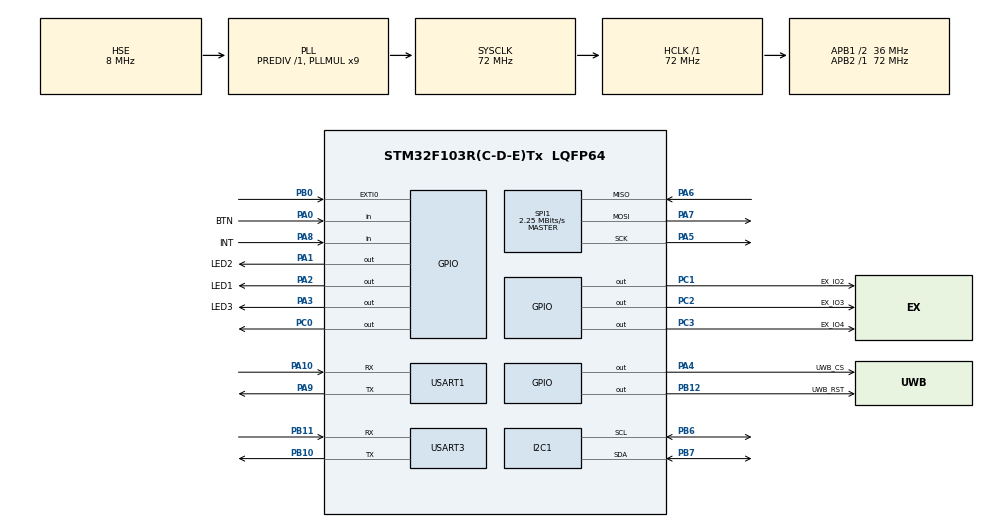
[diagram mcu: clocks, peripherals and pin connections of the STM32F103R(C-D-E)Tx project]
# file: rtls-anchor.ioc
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I2C1.I2C_Mode=I2C_Fast
Mcu.Family=STM32F1
Mcu.Name=STM32F103R(C-D-E)Tx
Mcu.Package=LQFP64
NVIC.EXTI0_IRQn=true\:0\:0\:false\:false\:true\:true\:true\:true
NVIC.PriorityGroup=NVIC_PRIORITYGROUP_4
NVIC.TIM2_IRQn=true\:0\:0\:false\:false\:true\:true\:true\:true
NVIC.USART1_IRQn=true\:0\:0\:false\:false\:true\:true\:true\:true
NVIC.USART3_IRQn=true\:0\:0\:false\:false\:true\:true\:true\:true
PA0-WKUP.GPIO_Label=BTN
PA0-WKUP.Signal=GPIO_Input
PA1.GPIO_Label=LED2
PA1.GPIO_ModeDefaultOutputPP=GPIO_MODE_OUTPUT_PP
PA1.GPIO_PuPd=GPIO_NOPULL
PA1.GPIO_Speed=GPIO_SPEED_FREQ_HIGH
PA1.PinState=GPIO_PIN_RESET
PA1.Signal=GPIO_Output
PA10.Mode=Asynchronous
PA10.Signal=USART1_RX
PA13.Mode=Serial_Wire
PA13.Signal=SYS_JTMS-SWDIO
PA14.Mode=Serial_Wire
PA14.Signal=SYS_JTCK-SWCLK
PA2.GPIO_Label=LED1
PA2.GPIO_ModeDefaultOutputPP=GPIO_MODE_OUTPUT_PP
PA2.GPIO_PuPd=GPIO_NOPULL
PA2.GPIO_Speed=GPIO_SPEED_FREQ_HIGH
PA2.PinState=GPIO_PIN_RESET
PA2.Signal=GPIO_Output
PA3.GPIO_Label=LED3
PA3.GPIO_ModeDefaultOutputPP=GPIO_MODE_OUTPUT_PP
PA3.GPIO_PuPd=GPIO_NOPULL
PA3.GPIO_Speed=GPIO_SPEED_FREQ_HIGH
PA3.PinState=GPIO_PIN_RESET
PA3.Signal=GPIO_Output
PA4.GPIO_Label=UWB_CS
PA4.GPIO_Speed=GPIO_SPEED_FREQ_HIGH
PA4.PinState=GPIO_PIN_SET
PA4.Signal=GPIO_Output
PA5.Mode=Full_Duplex_Master
PA5.Signal=SPI1_SCK
PA6.Mode=Full_Duplex_Master
PA6.Signal=SPI1_MISO
PA7.Mode=Full_Duplex_Master
PA7.Signal=SPI1_MOSI
PA8.GPIO_Label=INT
PA8.Signal=GPIO_Input
PA9.Mode=Asynchronous
PA9.Signal=USART1_TX
PB0.GPIO_ModeDefaultEXTI=GPIO_MODE_IT_RISING
PB0.GPIO_PuPd=GPIO_NOPULL
PB0.Signal=GPXTI0
PB10.Mode=Asynchronous
PB10.Signal=USART3_TX
PB11.Mode=Asynchronous
PB11.Signal=USART3_RX
PB12.GPIO_Label=UWB_RST
PB12.GPIO_Speed=GPIO_SPEED_FREQ_HIGH
PB12.PinState=GPIO_PIN_SET
PB12.Signal=GPIO_Output
PB6.Mode=I2C
PB6.Signal=I2C1_SCL
PB7.Mode=I2C
PB7.Signal=I2C1_SDA
PC0.Signal=GPIO_Output
PC1.GPIO_Label=EX_IO2
PC1.GPIO_Speed=GPIO_SPEED_FREQ_HIGH
PC1.Signal=GPIO_Output
PC2.GPIO_Label=EX_IO3
PC2.GPIO_Speed=GPIO_SPEED_FREQ_HIGH
PC2.Signal=GPIO_Output
PC3.GPIO_Label=EX_IO4
PC3.GPIO_Speed=GPIO_SPEED_FREQ_HIGH
PC3.Signal=GPIO_Output
PD0-OSC_IN.Mode=HSE-External-Oscillator
PD0-OSC_IN.Signal=RCC_OSC_IN
PD1-OSC_OUT.Mode=HSE-External-Oscillator
PD1-OSC_OUT.Signal=RCC_OSC_OUT
ProjectManager.HeapSize=0x200
ProjectManager.StackSize=0x400
ProjectManager.TargetToolchain=STM32CubeIDE
RCC.ADCPresc=RCC_ADCPCLK2_DIV6
RCC.AHBFreq_Value=72000000
RCC.APB1CLKDivider=RCC_HCLK_DIV2
RCC.APB1Freq_Value=36000000
RCC.APB1TimFreq_Value=72000000
RCC.APB2Freq_Value=72000000
RCC.APB2TimFreq_Value=72000000
RCC.HCLKFreq_Value=72000000
RCC.PLLMUL=RCC_PLL_MUL9
RCC.PLLSourceVirtual=RCC_PLLSOURCE_HSE
RCC.SYSCLKFreq_VALUE=72000000
RCC.SYSCLKSource=RCC_SYSCLKSOURCE_PLLCLK
RCC.USBFreq_Value=72000000
SPI1.BaudRatePrescaler=SPI_BAUDRATEPRESCALER_32
SPI1.CalculateBaudRate=2.25 MBits/s
SPI1.Direction=SPI_DIRECTION_2LINES
SPI1.Mode=SPI_MODE_MASTER
SPI1.VirtualType=VM_MASTER
TIM1.Period=49999
TIM1.Prescaler=143
TIM2.Prescaler=143
USART1.VirtualMode=VM_ASYNC
USART3.VirtualMode=VM_ASYNC
VP_TIM1_VS_ClockSourceINT.Mode=Internal
VP_TIM2_VS_ClockSourceINT.Mode=Internal
board=custom

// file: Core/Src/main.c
/* USER CODE BEGIN Header */
/**
  ******************************************************************************
  * @file           : main.c
  * @brief          : Main program body
  ******************************************************************************
  * @attention
  *
  * Copyright (c) 2023 STMicroelectronics.
  * All rights reserved.
  *
  * This software is licensed under terms that can be found in the LICENSE file
  * in the root directory of this software component.
  * If no LICENSE file comes with this software, it is provided AS-IS.
  *
  ******************************************************************************
  */
/* USER CODE END Header */
#include "main.h"
#include "i2c.h"
#include "spi.h"
#include "tim.h"
#include "usart.h"
#include "gpio.h"

/* USER CODE BEGIN Includes */
#include <stdio.h>
#include <string.h>
#include <math.h>
#include <stdlib.h>
#include <stdbool.h>
#include <stdint.h>
#include <stddef.h>
#include "decawave/dw_api.h"
#include "log/log.h"
#include "mac/mac.h"
#include "message_types.h"
/* USER CODE END Includes */

/* USER CODE BEGIN PD */
#ifdef __GNUC__
int __io_putchar(int ch)
#else
int fputc(int ch, FILE *f)
#endif /* __GNUC__ */
{
  HAL_UART_Transmit(&huart1, (uint8_t *)&ch, 1, 1);
  return ch;
}
#define TWR_SLOT_NUM 5
#define ANTENNA_DELAY 16475
#define BCN_SLOT_NUM 0
#define OFFSET 245
#define RSP_DELAY 360
#define US_TO_DECAWAVE_TICK 63898
#define X 0.3
#define Y 0.5
uint8_t anchorBaseAddr[2] = {0x89, 0x01};
/* USER CODE END PD */

/* USER CODE BEGIN PV */
//dwDeviceTypes_t device = {
//  .extendedFrameLength = FRAME_LENGTH_NORMAL,
//  .pacSize = PAC_SIZE_8,
//  .pulseFrequency = TX_PULSE_FREQ_64MHZ,
//  .dataRate = TRX_RATE_6800KBPS,
//  .preambleLength = TX_PREAMBLE_LEN_128,
//  .preambleCode = PREAMBLE_CODE_64MHZ_9,
//  .channel = CHANNEL_5,
//  .smartPower = true,
//  .frameCheck = true,
//  .permanentReceive = false,
//  .deviceMode = IDLE_MODE,
//  .forceTxPower = false,
//};

dwDeviceTypes_t device = {
  .extendedFrameLength = FRAME_LENGTH_NORMAL,
  .pacSize = PAC_SIZE_8,
  .pulseFrequency = TX_PULSE_FREQ_64MHZ,
  .dataRate = TRX_RATE_6800KBPS,
  .preambleLength = TX_PREAMBLE_LEN_128,
  .preambleCode = PREAMBLE_CODE_64MHZ_9,
  .channel = CHANNEL_5,
  .smartPower = true,
  .frameCheck = true,
  .permanentReceive = false,
  .deviceMode = IDLE_MODE,
  .forceTxPower = false,
};

typedef struct
{
	bool anchorSync;
	uint16_t timePollStart;
	uint16_t timePollEnd;
	uint16_t timeRespStart;
	uint16_t timeRespEnd;
	uint16_t timeLocStart;
	uint16_t timeLocEnd;
} systemHandle_t;
systemHandle_t systemHandle = {0};

/* USER CODE END PV */

void SystemClock_Config(void);

/* USER CODE BEGIN 0 */
//void HAL_GPIO_EXTI_Callback(uint16_t GPIO_Pin)
//{
//
//	if (GPIO_Pin == GPIO_PIN_0)
//	{
//		systemHandle.dwIsIntr = true;
//		HAL_NVIC_ClearPendingIRQ(EXTI0_IRQn);
//	}
//}

//void HAL_TIM_PeriodElapsedCallback(TIM_HandleTypeDef *htim)
//{
//	if (htim->Instance == TIM2)
//	{
//		systemHandle.timeoutIsIntr = true;
//	}
//}

void dwInteruptHandler(void)
{
	dwReadSystemEventStatusRegister(&device);
	if (dwIsTransmitDone(&device))
	{
		dwClearTransmitStatus(&device);
	}
	if (dwIsReceiveTimestampAvailable(&device))
	{
		dwClearReceiveTimestampAvailableStatus(&device);
	}
	if (dwIsReceiveFailed(&device))
	{
		dwClearReceiveStatus(&device);
		dwRxSoftReset(&device);
	}
	if (dwIsReceiveTimeout(&device))
	{
		dwClearReceiveStatus(&device);
		dwRxSoftReset(&device);
	}
	if (dwIsReceiveDone(&device))
	{
		dwClearReceiveStatus(&device);
	}
}
/* USER CODE END 0 */

int main(void)
{
  /* USER CODE BEGIN 1 */
	pollHandle_t pollHandle;
	respHandle_t respHandle;
	locMess_t locMess;
	packet_t pollPacket;
	packet_t respPacket;
	packet_t locPacket;
	uint16_t twrTimeStart = TWR_SLOT_NUM * 4500 + 10000;
	uint16_t timePollRecv, timePollProcess, cntSync;
  /* USER CODE END 1 */

  /* MCU Configuration--------------------------------------------------------*/

  /* Reset of all peripherals, Initializes the Flash interface and the Systick. */
  HAL_Init();

  /* Configure the system clock */
  SystemClock_Config();

  /* Initialize all configured peripherals */
  MX_GPIO_Init();
  MX_I2C1_Init();
  MX_SPI1_Init();
  MX_USART1_UART_Init();
  MX_USART3_UART_Init();
  MX_TIM1_Init();
  MX_TIM2_Init();
  /* USER CODE BEGIN 2 */
  logi("[ANCHOR START]");
  MAC80215_PACKET_INIT(pollPacket, MAC802154_TYPE_DATA);
  MAC80215_PACKET_INIT(respPacket, MAC802154_TYPE_DATA);
  dwInit(&device);
  if (dwConfigure(&device) == DW_ERROR_OK)
  {
    dwEnableAllLeds(&device);
  }
  else
  {
    loge("[Configure failed]");
    while (1);
  }
  dwNewConfiguration(&device);
  dwSetDefaults(&device);
  dwCommitConfiguration(&device);
  TIM1->CNT = 0;
  HAL_TIM_Base_Start(&htim1);
  /* USER CODE END 2 */

  /* Infinite loop */
  while (1)
  {

    /* USER CODE BEGIN 3 */
	  if (!(systemHandle.anchorSync))
	  {
		  dwNewReceive(&device);
		  dwSetDefaults(&device);
		  dwStartReceive(&device);
		  do
		  {
			  dwReadSystemEventStatusRegister(&device);
		  } while (!(device.sysstatus[1] & (((1 << RXDFR_BIT) | (1 << RXFCG_BIT)) >> 8)));
		  dwInteruptHandler();
		  timePollRecv = TIM1->CNT;
		  memset(&pollHandle.pollMess, 0, sizeof(pollHandle.pollMess));
		  int dataLen = dwGetDataLength(&device);
		  if (dataLen > 0)
		  {
			  dwGetData(&device, (uint8_t *)&pollPacket, dataLen);
			  if (pollPacket.payload[POLL_ID] != TYPE_POLL)
			  {

			  }
			  else
			  {
				  memcpy(&pollHandle.pollMess, pollPacket.payload, sizeof(pollHandle.pollMess));
				  systemHandle.anchorSync = true;
				  timePollProcess = TIM1->CNT - timePollRecv;
				  TIM1->CNT = timePollProcess + OFFSET + twrTimeStart;
				  cntSync = TIM1->CNT;
				  logi("Sync clock, CNT: %d", cntSync);
			  }
		  }
		  else
		  {

		  }
	  }
	  else
	  {
		  while (TIM1->CNT < twrTimeStart);
		  systemHandle.timePollStart = TIM1->CNT;
//		  TIM2->CNT = 1;
//		  TIM2->ARR = 600;
//		  HAL_TIM_Base_Start_IT(&htim2);
		  dwSetReceiveWaitTimeout(&device, 600);
		  dwWriteSystemConfigurationRegister(&device);
		  dwNewReceive(&device);
		  dwSetDefaults(&device);
		  dwStartReceive(&device);
		  do
		  {
			  dwReadSystemEventStatusRegister(&device);
		  } while (!((device.sysstatus[1] & (((1 << RXDFR_BIT) | (1 << RXFCG_BIT)) >> 8)) || (device.sysstatus[2] & ((1 << RXRFTO_BIT) >> 16))));
		  dwInteruptHandler();
		  timePollRecv = TIM1->CNT;
//		  HAL_TIM_Base_Stop_IT(&htim2);
		  memset(&pollHandle.pollMess, 0, sizeof(pollHandle.pollMess));
		  if (device.sysstatus[1] & (((1 << RXDFR_BIT) | (1 << RXFCG_BIT)) >> 8))
		  {
//			  systemHandle.dwIsIntr = false;
			  int dataLen = dwGetDataLength(&device);
			  if (dataLen > 0)
			  {
				  dwGetData(&device, (uint8_t *)&pollPacket, dataLen);
				  if (pollPacket.payload[POLL_ID] != TYPE_POLL)
				  {
					  // Recv fail
				  }
				  else
				  {
					  // Recv Poll Message from Tag
					  memcpy(&pollHandle.pollMess, pollPacket.payload, sizeof(pollHandle.pollMess));
					  timePollProcess = TIM1->CNT - timePollRecv;
					  TIM1->CNT = timePollProcess + OFFSET + twrTimeStart;
					  cntSync = TIM1->CNT;
					  uint8_t *addrIndex = (uint8_t*)strstr(pollHandle.pollMess.anchorAddr, anchorBaseAddr);
					  if (addrIndex != NULL)
					  {
						  // Have my anchor address
						  dwGetReceiveTimestamp(&device, &pollHandle.timestamp);
						  uint8_t respIndex = (uint8_t)(addrIndex - pollHandle.pollMess.anchorAddr) / 2;
						  systemHandle.timePollEnd = TIM1->CNT;
						  while (TIM1->CNT < twrTimeStart + 750 + 750 * respIndex);
						  systemHandle.timeRespStart = TIM1->CNT;
//						  while (TIM1->CNT < twrTimeStart + 750 + 750 * respIndex + 50);
						  memcpy(respPacket.destAddress, pollPacket.sourceAddress, sizeof(pollPacket.sourceAddress));
						  memcpy(respPacket.sourceAddress, anchorBaseAddr, sizeof(anchorBaseAddr));
						  respHandle.respMess.messID = TYPE_RESP;
						  respHandle.respMess.x.xVal = X;
						  respHandle.respMess.y.yVal = Y;
						  memcpy(respHandle.respMess.rxTimestamp.timeRaw, pollHandle.timestamp.timeRaw, sizeof(pollHandle.timestamp.timeRaw));
						  uint64_t delayTx = US_TO_DECAWAVE_TICK * RSP_DELAY;
						  respHandle.timestamp.timeFull = dwSetTxDelay(&device, delayTx);
						  memcpy(respHandle.respMess.txTimestamp.timeRaw, respHandle.timestamp.timeRaw, sizeof(respHandle.timestamp.timeRaw));
						  memcpy(respPacket.payload, (uint8_t*)&respHandle.respMess, sizeof(respHandle.respMess));
						  dwNewTransmit(&device);
						  dwSetDefaults(&device);
						  dwSetData(&device, (uint8_t *)&respPacket, MAC802154_HEADER_LENGTH + sizeof(respHandle.respMess));
						  dwStartTransmit(&device, true);
//						  while (!(systemHandle.dwIsIntr == true));
//						  dwReadSystemEventMaskRegister(&device);
						  do
						  {
							  dwReadSystemEventStatusRegister(&device);
						  } while (!(device.sysstatus[0] & (1 << TXFRS_BIT)));
						  dwInteruptHandler();
						  systemHandle.timeRespEnd = TIM1->CNT;
//						  systemHandle.dwIsIntr = false;

						  // Wait for Loc slot
						  while (TIM1->CNT < twrTimeStart + 750 + 750 * 4);
						  systemHandle.timeLocStart = TIM1->CNT;
						  dwSetReceiveWaitTimeout(&device, 500);
						  dwWriteSystemConfigurationRegister(&device);
						  dwNewReceive(&device);
						  dwSetDefaults(&device);
						  dwStartReceive(&device);
						  do
						  {
							  dwReadSystemEventStatusRegister(&device);
						  } while (!((device.sysstatus[1] & (((1 << RXDFR_BIT) | (1 << RXFCG_BIT)) >> 8)) || (device.sysstatus[2] & ((1 << RXRFTO_BIT) >> 16))));
						  if (device.sysstatus[1] & (((1 << RXDFR_BIT) | (1 << RXFCG_BIT)) >> 8))
						  {
							  // Recv Loc message
							  int dataLen = dwGetDataLength(&device);
							  if (dataLen > 0)
							  {
								  dwGetData(&device, (uint8_t *)&locPacket, dataLen);
								  if (locPacket.payload[LOC_ID] != TYPE_LOC)
								  {

								  }
								  else
								  {
									  memcpy((uint8_t*)&locMess, locPacket.payload, sizeof(locMess));
								  }
							  }
							  else
							  {
								  // RX fail
							  }
						  }
						  else if (device.sysstatus[2] & ((1 << RXRFTO_BIT) >> 16))
						  {
							  // RX timeout
//							  loge("RX Loc message timeout");
						  }
						  systemHandle.timeLocEnd = TIM1->CNT;
					  }
					  else
					  {
						  // Not find anchor address
					  }
				  }
			  }
			  else
			  {
				  // RX fail
			  }

		  }
		  else if (device.sysstatus[2] & ((1 << RXRFTO_BIT) >> 16))
		  {
			  // RX timeout
//			  dwIdle(&device);
//			  systemHandle.timeoutIsIntr = false;
//			  loge("RX Poll message timeout");
			  systemHandle.timePollEnd = TIM1->CNT;
		  }
	  }
	  printf("Poll: start %d, end %d, delta %d\r\n", systemHandle.timePollStart, systemHandle.timePollEnd, systemHandle.timePollEnd - systemHandle.timePollStart);
	  printf("Resp: start %d, end %d, delta %d\r\n", systemHandle.timeRespStart, systemHandle.timeRespEnd, systemHandle.timeRespEnd - systemHandle.timeRespStart);
	  if (locMess.messID)
	  {
		  printf("Loc: start %d, end %d, delta %d\r\n", systemHandle.timeLocStart, systemHandle.timeLocEnd, systemHandle.timeLocStart - systemHandle.timeLocStart);
		  printf("X: %0.2f, Y: %0.2f\r\n", locMess.x.xVal, locMess.y.yVal);
	  }
	  memset(&locMess, 0, sizeof(locMess));
	  while (!((TIM1->CNT > 0) && (TIM1->CNT < 10)));
  }
  /* USER CODE END 3 */
}

void SystemClock_Config(void)
{
  RCC_OscInitTypeDef RCC_OscInitStruct = {0};
  RCC_ClkInitTypeDef RCC_ClkInitStruct = {0};

  /** Initializes the RCC Oscillators according to the specified parameters
  * in the RCC_OscInitTypeDef structure.
  */
  RCC_OscInitStruct.OscillatorType = RCC_OSCILLATORTYPE_HSE;
  RCC_OscInitStruct.HSEState = RCC_HSE_ON;
  RCC_OscInitStruct.HSEPredivValue = RCC_HSE_PREDIV_DIV1;
  RCC_OscInitStruct.HSIState = RCC_HSI_ON;
  RCC_OscInitStruct.PLL.PLLState = RCC_PLL_ON;
  RCC_OscInitStruct.PLL.PLLSource = RCC_PLLSOURCE_HSE;
  RCC_OscInitStruct.PLL.PLLMUL = RCC_PLL_MUL9;
  if (HAL_RCC_OscConfig(&RCC_OscInitStruct) != HAL_OK)
  {
    Error_Handler();
  }

  /** Initializes the CPU, AHB and APB buses clocks
  */
  RCC_ClkInitStruct.ClockType = RCC_CLOCKTYPE_HCLK|RCC_CLOCKTYPE_SYSCLK
                              |RCC_CLOCKTYPE_PCLK1|RCC_CLOCKTYPE_PCLK2;
  RCC_ClkInitStruct.SYSCLKSource = RCC_SYSCLKSOURCE_PLLCLK;
  RCC_ClkInitStruct.AHBCLKDivider = RCC_SYSCLK_DIV1;
  RCC_ClkInitStruct.APB1CLKDivider = RCC_HCLK_DIV2;
  RCC_ClkInitStruct.APB2CLKDivider = RCC_HCLK_DIV1;

  if (HAL_RCC_ClockConfig(&RCC_ClkInitStruct, FLASH_LATENCY_2) != HAL_OK)
  {
    Error_Handler();
  }
}

void Error_Handler(void)
{
  __disable_irq();
  while (1)
  {
  }
}
